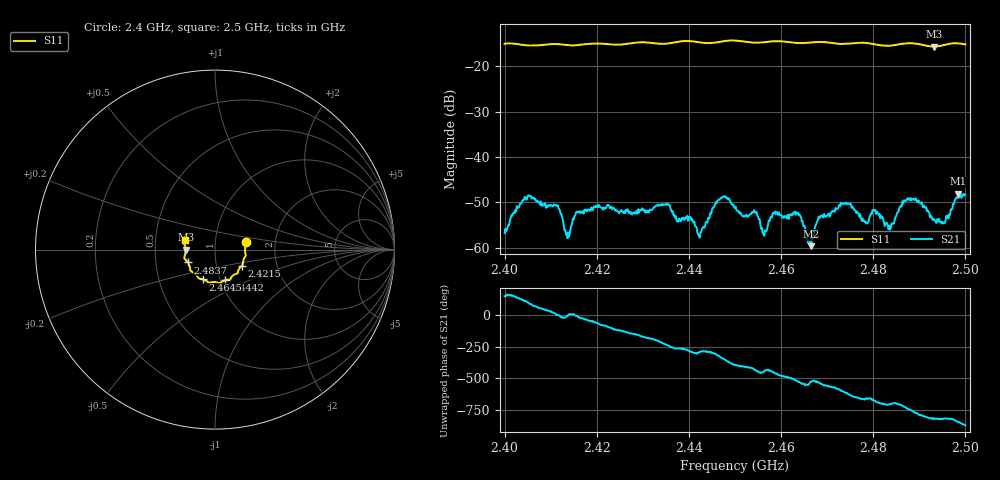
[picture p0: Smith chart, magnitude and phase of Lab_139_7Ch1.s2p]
# Hz S RI R 50
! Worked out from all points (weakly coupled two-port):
!   601 points, 2.4 GHz to 2.5 GHz, reference 50 ohm
!   highest |S21| = -48.04 dB at 2.4985 GHz (marker M1); lowest = -59.6 dB at 2.4665 GHz (marker M2)
!   lowest |S11| = -15.7 dB at 2.4932 GHz (marker M3), VSWR 1.39, Z = 36 - j0.0511 ohm
!   |S11| at or under -10 dB: start of sweep to end of sweep
!   S12 and S22 are empty: the file has one direction only
!   S11 on the Smith chart (normalised r, x): 2.4 GHz: 1.41, +0.12; 2.4215 GHz: 1.33, -0.25; 2.4442 GHz: 1.05, -0.37; 2.4645 GHz: 0.83, -0.29; 2.4837 GHz: 0.73, -0.11; 2.5 GHz: 0.71, +0.07
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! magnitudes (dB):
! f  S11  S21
! 2.4 GHz  -15.1  -56.7
! 2.4055 GHz  -15.5  -48.6
! 2.4115 GHz  -15.2  -50.6
! 2.4137 GHz  -15.4  -57.8
! 2.4167 GHz  -15.3  -52.0
! 2.4215 GHz  -15.1  -51.1
! 2.4333 GHz  -15.1  -50.5
! 2.4423 GHz  -14.8  -57.7
! 2.4442 GHz  -15.0  -53.4
! 2.45 GHz  -14.4  -51.1
! 2.4563 GHz  -14.8  -57.3
! 2.4587 GHz  -14.5  -52.0
! 2.4645 GHz  -15.0  -54.1
! 2.4665 GHz  -14.8  -59.6
! 2.4667 GHz  -14.8  -58.0
! 2.4735 GHz  -15.1  -50.1
! 2.4833 GHz  -15.6  -55.9
! 2.4837 GHz  -15.5  -56.0
! 2.4877 GHz  -15.0  -49.4
! 2.4932 GHz  -15.7  -53.6
! 2.4985 GHz  -15.0  -48.0
! 2.5 GHz  -15.3  -48.3
